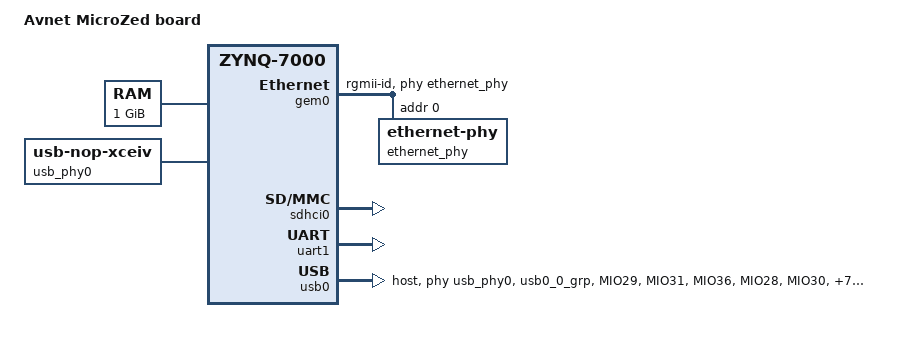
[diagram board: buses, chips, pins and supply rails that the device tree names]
// SPDX-License-Identifier: GPL-2.0
/*
 * Copyright (C) 2011 - 2014 Xilinx
 * Copyright (C) 2016 Jagan Teki <jteki@openedev.com>
 */
/dts-v1/;
/include/ "zynq-7000.dtsi"

/ {
	model = "Avnet MicroZed board";
	compatible = "avnet,zynq-microzed", "xlnx,zynq-microzed", "xlnx,zynq-7000";

	aliases {
		ethernet0 = &gem0;
		serial0 = &uart1;
	};

	memory@0 {
		device_type = "memory";
		reg = <0x0 0x40000000>;
	};

	chosen {
		bootargs = "earlycon";
		stdout-path = "serial0:115200n8";
	};

	usb_phy0: phy0 {
		compatible = "usb-nop-xceiv";
		#phy-cells = <0>;
	};
};

&clkc {
	ps-clk-frequency = <33333333>;
};

&gem0 {
	status = "okay";
	phy-mode = "rgmii-id";
	phy-handle = <&ethernet_phy>;

	ethernet_phy: ethernet-phy@0 {
		reg = <0>;
	};
};

&sdhci0 {
	status = "okay";
};

&uart1 {
	status = "okay";
};

&usb0 {
	status = "okay";
	dr_mode = "host";
	usb-phy = <&usb_phy0>;
	pinctrl-names = "default";
	pinctrl-0 = <&pinctrl_usb0_default>;
};

&pinctrl0 {
	pinctrl_usb0_default: usb0-default {
		mux {
			groups = "usb0_0_grp";
			function = "usb0";
		};

		conf {
			groups = "usb0_0_grp";
			slew-rate = <0>;
			io-standard = <1>;
		};

		conf-rx {
			pins = "MIO29", "MIO31", "MIO36";
			bias-high-impedance;
		};

		conf-tx {
			pins = "MIO28", "MIO30", "MIO32", "MIO33", "MIO34",
			       "MIO35", "MIO37", "MIO38", "MIO39";
			bias-disable;
		};
	};
};
